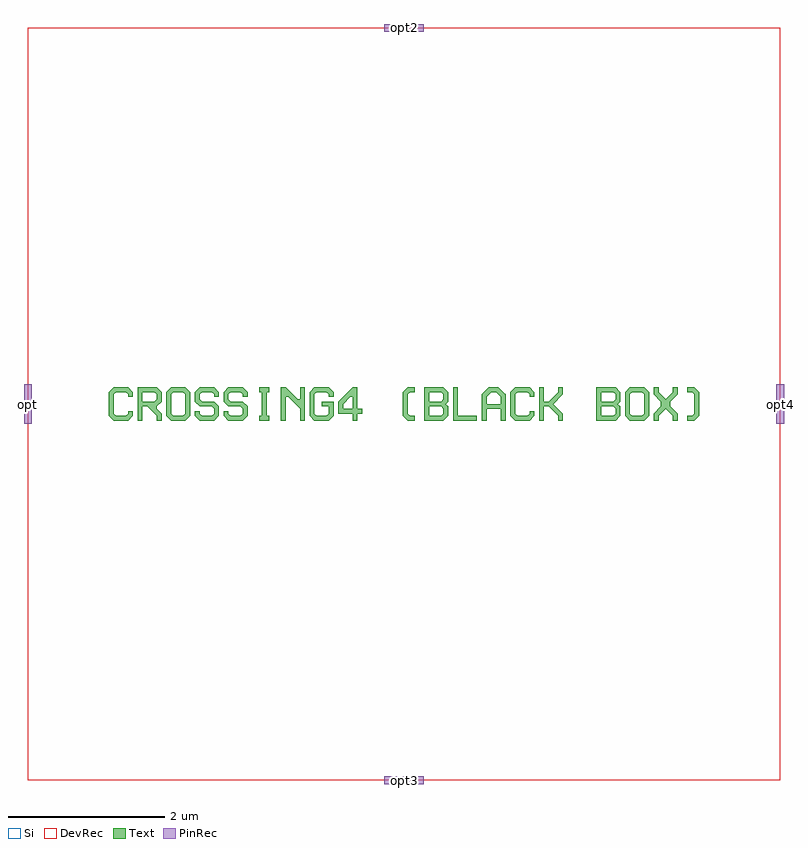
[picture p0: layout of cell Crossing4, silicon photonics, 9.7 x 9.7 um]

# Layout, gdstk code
import gdstk
lib = gdstk.Library(unit=1e-6, precision=1e-09)
def R(c, l, rs):  # rectangles x0, y0, x1, y1
    for r in rs: c.add(gdstk.rectangle(r[:2], r[2:], *l))
def P(c, l, *ps):  # polygons
    for p in ps: c.add(gdstk.Polygon(p, *l))
Si = (1, 0)
PinRec = (1, 10)
Text = (10, 0)
DevRec = (68, 0)

text = lib.new_cell('TEXT')
P(text, Text, [(0.061,0),(0,0.061),(0,0.366),(0.061,0.427),(0.244,0.427),(0.305,0.366),(0.305,0.305),(0.244,0.305),(0.244,0.335),(0.213,0.366),(0.091,0.366),(0.061,0.335),(0.061,0.091),(0.091,0.061),(0.213,0.061),(0.244,0.091),(0.244,0.122),(0.305,0.122),(0.305,0.061),(0.244,0)],
  [(0.366,0),(0.366,0.427),(0.61,0.427),(0.671,0.366),(0.427,0.366),(0.427,0.244),(0.579,0.244),(0.61,0.274),(0.61,0.335),(0.579,0.366),(0.671,0.366),(0.671,0.244),(0.61,0.183),(0.61,0.152),(0.671,0.091),(0.671,0),(0.61,0),(0.61,0.061),(0.488,0.183),(0.427,0.183),(0.427,0)],
  [(0.793,0),(0.732,0.061),(0.732,0.366),(0.793,0.427),(0.976,0.427),(1.037,0.366),(1.037,0.213),(0.976,0.213),(0.976,0.335),(0.945,0.366),(0.823,0.366),(0.793,0.335),(0.793,0.091),(0.823,0.061),(0.945,0.061),(0.976,0.091),(0.976,0.213),(1.037,0.213),(1.037,0.061),(0.976,0)],
  [(1.159,0),(1.098,0.061),(1.098,0.122),(1.159,0.122),(1.159,0.091),(1.189,0.061),(1.311,0.061),(1.342,0.091),(1.342,0.152),(1.311,0.183),(1.159,0.183),(1.098,0.244),(1.098,0.366),(1.159,0.427),(1.342,0.427),(1.403,0.366),(1.403,0.305),(1.342,0.305),(1.342,0.335),(1.311,0.366),(1.189,0.366),(1.159,0.335),(1.159,0.274),(1.189,0.244),(1.342,0.244),(1.403,0.183),(1.403,0.061),(1.342,0)],
  [(1.525,0),(1.464,0.061),(1.464,0.122),(1.525,0.122),(1.525,0.091),(1.555,0.061),(1.677,0.061),(1.708,0.091),(1.708,0.152),(1.677,0.183),(1.525,0.183),(1.464,0.244),(1.464,0.366),(1.525,0.427),(1.708,0.427),(1.769,0.366),(1.769,0.305),(1.708,0.305),(1.708,0.335),(1.677,0.366),(1.555,0.366),(1.525,0.335),(1.525,0.274),(1.555,0.244),(1.708,0.244),(1.769,0.183),(1.769,0.061),(1.708,0)],
  [(1.921,0),(1.921,0.061),(1.952,0.061),(1.952,0.366),(1.921,0.366),(1.921,0.427),(2.043,0.427),(2.043,0.366),(2.013,0.366),(2.013,0.061),(2.043,0.061),(2.043,0)],
  [(2.196,0),(2.196,0.427),(2.257,0.427),(2.409,0.274),(2.44,0.274),(2.44,0.427),(2.501,0.427),(2.501,0),(2.44,0),(2.44,0.152),(2.287,0.305),(2.257,0.305),(2.257,0)],
  [(2.623,0),(2.562,0.061),(2.562,0.366),(2.623,0.427),(2.806,0.427),(2.867,0.366),(2.867,0.305),(2.806,0.305),(2.806,0.335),(2.775,0.366),(2.653,0.366),(2.623,0.335),(2.623,0.091),(2.653,0.061),(2.775,0.061),(2.806,0.091),(2.806,0.183),(2.714,0.183),(2.714,0.244),(2.867,0.244),(2.867,0.061),(2.806,0)],
  [(3.111,0),(3.111,0.091),(2.928,0.091),(2.928,0.152),(3.111,0.152),(3.111,0.305),(3.08,0.305),(2.989,0.213),(2.989,0.152),(2.928,0.152),(2.928,0.244),(3.111,0.427),(3.172,0.427),(3.172,0.152),(3.233,0.152),(3.233,0.091),(3.172,0.091),(3.172,0)],
  [(3.812,0),(3.751,0.061),(3.751,0.366),(3.812,0.427),(3.904,0.427),(3.904,0.366),(3.843,0.366),(3.812,0.335),(3.812,0.091),(3.843,0.061),(3.904,0.061),(3.904,0)],
  [(4.026,0),(4.026,0.427),(4.27,0.427),(4.331,0.366),(4.087,0.366),(4.087,0.244),(4.239,0.244),(4.27,0.274),(4.27,0.335),(4.239,0.366),(4.331,0.366),(4.331,0.244),(4.3,0.213),(4.331,0.183),(4.087,0.183),(4.087,0.061),(4.239,0.061),(4.27,0.091),(4.27,0.152),(4.239,0.183),(4.331,0.183),(4.331,0.061),(4.27,0)],
  [(4.392,0),(4.392,0.427),(4.453,0.427),(4.453,0.061),(4.697,0.061),(4.697,0)],
  [(4.758,0),(4.758,0.335),(4.849,0.427),(4.971,0.427),(5.032,0.366),(4.88,0.366),(4.819,0.305),(4.819,0.213),(5.002,0.213),(5.002,0.305),(4.941,0.366),(5.032,0.366),(5.063,0.335),(5.063,0),(5.002,0),(5.002,0.152),(4.819,0.152),(4.819,0)],
  [(5.185,0),(5.124,0.061),(5.124,0.366),(5.185,0.427),(5.368,0.427),(5.429,0.366),(5.429,0.305),(5.368,0.305),(5.368,0.335),(5.337,0.366),(5.215,0.366),(5.185,0.335),(5.185,0.091),(5.215,0.061),(5.337,0.061),(5.368,0.091),(5.368,0.122),(5.429,0.122),(5.429,0.061),(5.368,0)],
  [(5.49,0),(5.49,0.427),(5.551,0.427),(5.551,0.244),(5.612,0.244),(5.734,0.366),(5.734,0.427),(5.795,0.427),(5.795,0.335),(5.673,0.213),(5.795,0.091),(5.795,0),(5.734,0),(5.734,0.061),(5.612,0.183),(5.551,0.183),(5.551,0)],
  [(6.222,0),(6.222,0.427),(6.466,0.427),(6.527,0.366),(6.283,0.366),(6.283,0.244),(6.435,0.244),(6.466,0.274),(6.466,0.335),(6.435,0.366),(6.527,0.366),(6.527,0.244),(6.496,0.213),(6.527,0.183),(6.283,0.183),(6.283,0.061),(6.435,0.061),(6.466,0.091),(6.466,0.152),(6.435,0.183),(6.527,0.183),(6.527,0.061),(6.466,0)],
  [(6.649,0),(6.588,0.061),(6.588,0.366),(6.649,0.427),(6.832,0.427),(6.893,0.366),(6.893,0.213),(6.832,0.213),(6.832,0.335),(6.801,0.366),(6.679,0.366),(6.649,0.335),(6.649,0.091),(6.679,0.061),(6.801,0.061),(6.832,0.091),(6.832,0.213),(6.893,0.213),(6.893,0.061),(6.832,0)],
  [(6.954,0),(6.954,0.091),(7.045,0.183),(7.045,0.244),(6.954,0.335),(6.954,0.427),(7.015,0.427),(7.015,0.366),(7.106,0.274),(7.198,0.366),(7.198,0.427),(7.259,0.427),(7.259,0.335),(7.167,0.244),(7.167,0.183),(7.259,0.091),(7.259,0),(7.198,0),(7.198,0.061),(7.106,0.152),(7.015,0.061),(7.015,0)],
  [(7.381,0),(7.381,0.061),(7.442,0.061),(7.472,0.091),(7.472,0.335),(7.442,0.366),(7.381,0.366),(7.381,0.427),(7.472,0.427),(7.533,0.366),(7.533,0.061),(7.472,0)])

crossing4 = lib.new_cell('Crossing4')
R(crossing4, Si, [(-4.8,-4.8,4.8,4.8)])
R(crossing4, DevRec, [(-4.8,-4.8,4.8,4.8)])
crossing4.add(gdstk.FlexPath([(-4.75,0),(-4.85,0)], 0.5, ends="flush", simple_path=True, layer=1, datatype=10))  # PinRec
crossing4.add(gdstk.FlexPath([(4.75,0),(4.85,0)], 0.5, ends="flush", simple_path=True, layer=1, datatype=10))  # PinRec
crossing4.add(gdstk.FlexPath([(0,-4.75),(0,-4.85)], 0.5, ends="flush", simple_path=True, layer=1, datatype=10))  # PinRec
crossing4.add(gdstk.FlexPath([(0,4.75),(0,4.85)], 0.5, ends="flush", simple_path=True, layer=1, datatype=10))  # PinRec
crossing4.add(gdstk.Reference(text, (-3.766,-0.213)))
crossing4.add(gdstk.Label('opt4', (4.8,0), layer=1, texttype=10))
crossing4.add(gdstk.Label('opt2', (0,4.8), layer=1, texttype=10))
crossing4.add(gdstk.Label('opt', (-4.8,0), layer=1, texttype=10))
crossing4.add(gdstk.Label('opt3', (0,-4.8), layer=1, texttype=10))

lib.write_gds('Crossing4.gds')
